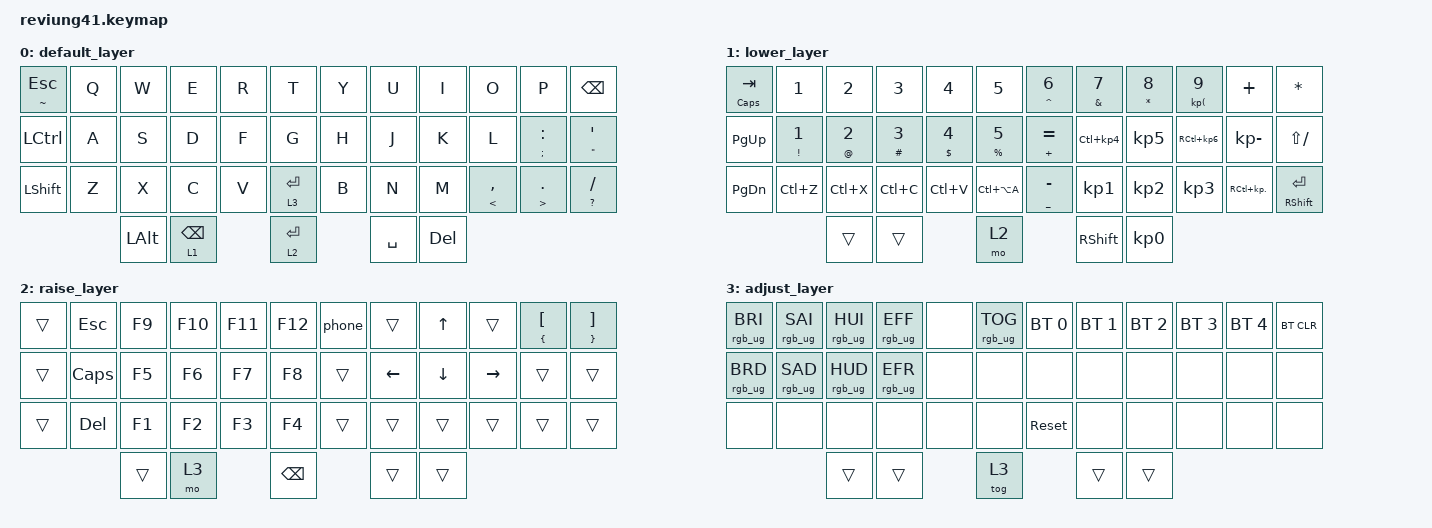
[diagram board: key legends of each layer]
/*
 * Copyright (c) 2020 The ZMK Contributors
 *
 * SPDX-License-Identifier: MIT
 */

#include <behaviors.dtsi>
#include <dt-bindings/zmk/bt.h>
#include <dt-bindings/zmk/keys.h>
#include <dt-bindings/zmk/rgb.h>

/ {
    behaviors {
        tab_esc_ctrl: tab_esc_ctrl {
            compatible = "zmk,behavior-tap-dance";
            label = "TAB_ESC_CTRL";
            #binding-cells = <0>;
            bindings =
                <&mt LCTRL ESC>,
                <&kp TAB>;
        };
        ltq: ltq {
            compatible = "zmk,behavior-hold-tap";
            label = "LTQ";
            bindings =
                <&mo>,
                <&kp>;

            #binding-cells = <2>;
            global-quick-tap;
            tapping-term-ms = <200>;
            quick-tap-ms = <180>;
        };
    };

    combos {
        compatible = "zmk,combos";

        combo1 {
            bindings = <&kp LBKT>;
            key-positions = <6 7>;
        };

        combo2 {
            bindings = <&kp RBKT>;
            key-positions = <8 9>;
        };

        combo3 {
            bindings = <&kp LEFT_PARENTHESIS>;
            key-positions = <16 17>;
        };

        new_combo {
            bindings = <&kp LEFT_WIN>;
            key-positions = <36 37>;
        };
    };

    macros {
        phone: phone {
            compatible = "zmk,behavior-macro";
            label = "PHONE";
            #binding-cells = <0>;
            bindings = <&none &kp N1 &kp N5 &kp N1 &kp N5 &kp N7 &kp N8 &kp N8 &kp N2 &kp N7 &kp N7 &kp N6>;
        };
    };

    keymap {
        compatible = "zmk,keymap";

        default_layer {
            // -------------------------------------------------------------------------------------
            // |  TAB |  Q  |  W  |  E  |  R  |  T  |   |  Y  |  U   |  I  |  O  |  P  |   BKSP    |
            // | CTRL |  A  |  S  |  D  |  F  |  G  |   |  H  |  J   |  K  |  L  |  ;  |    '      |
            // | SHFT |  Z  |  X  |  C  |  V  |  B  |   |  N  |  M   |  ,  |  .  |  /  | SHFT(RET) |
            //                         | ALT | LWR | SPC | RSE  | ALT |

            bindings = <
&mt TILDE ESCAPE  &kp Q  &kp W         &kp E            &kp R        &kp T               &kp Y      &kp U    &kp I         &kp O           &kp P       &kp BACKSPACE
       &kp LCTRL  &kp A  &kp S         &kp D            &kp F        &kp G               &kp H      &kp J    &kp K         &kp L  &mt SEMI COLON         &mt DQT SQT
       &kp LSHFT  &kp Z  &kp X         &kp C            &kp V  &lt 3 ENTER               &kp B      &kp N    &kp M  &mt LT COMMA      &mt GT DOT  &mt QUESTION SLASH
                                &kp LEFT_ALT  &lt 1 BACKSPACE               &lt 2 ENTER         &kp SPACE  &kp DEL
            >;
        };

        lower_layer {
            // ----------------------------------------------------------------------------------
            // |    |  !  |  @  |  #  |  $  |  %  |   |  ^  |  &  |  *  |  (  |  )  |    DEL    |
            // |    |  _  |  +  |  {  |  }  | "|" |   | LFT | DWN |  UP | RGT |  `  |     ~     |
            // |    | ESC | GUI | ALT | CAPS|  "  |   | HOME| END | PGUP| PGDN| PRSC| SHFT(RET) |
            //                       |     |     | RET | ADJ |     |

            bindings = <
 &mt CAPS TAB       &kp N1           &kp N2       &kp N3         &kp N4          &kp N5         &mt CARET NUMBER_6          &mt AMPS N7     &mt ASTRK N8  &mt KP_LEFT_PARENTHESIS N9        &kp PLUS       &kp STAR
  &kp PAGE_UP  &mt EXCL N1  &mt AT NUMBER_2  &mt HASH N3  &mt DOLLAR N4  &mt PERCENT N5             &mt PLUS EQUAL  &kp LC(KP_NUMBER_4)  &kp KP_NUMBER_5         &kp RC(KP_NUMBER_6)    &kp KP_MINUS   &kp LS(FSLH)
&kp PAGE_DOWN    &kp LC(Z)        &kp LC(X)    &kp LC(C)      &kp LC(V)   &kp LC(LA(A))            &mt UNDER MINUS            &kp KP_N1        &kp KP_N2                   &kp KP_N3  &kp RC(KP_DOT)  &mt RSHFT RET
                                                  &trans         &trans                  &mo 2                          &kp RIGHT_SHIFT  &kp KP_NUMBER_0
            >;
        };

        raise_layer {
            // -----------------------------------------------------------------------------------------
            // |    |  1  |  2  |  3  |  4  |  5  |   |  6  |  7  |  8  |  9  |  0  | DEL |
            // |    |  -  |  =  |  [  |  ]  |  \  |   | F1  | F2  | F3  | F4  | F5  | F6  |
            // |    | ESC | GUI | ALT | CAPS|  "  |   | F7  | F8  | F9  | F10 | F11 | F12 |
            //                       |     | ADJ | BKSP |    |     |

            bindings = <
&trans     &kp ESC  &kp F9  &kp F10  &kp F11  &kp F12            &phone    &trans    &kp UP     &trans  &mt LBRC LBKT  &mt RBRC RBKT
&trans    &kp CAPS  &kp F5   &kp F6   &kp F7   &kp F8            &trans  &kp LEFT  &kp DOWN  &kp RIGHT         &trans         &trans
&trans  &kp DELETE  &kp F1   &kp F2   &kp F3   &kp F4            &trans    &trans    &trans     &trans         &trans         &trans
                             &trans    &mo 3           &kp BSPC            &trans    &trans
            >;
        };

        adjust_layer {
            // -----------------------------------------------------------------------------------------
            // | RGB BRI+ | RGB SAT+ | RGB HUE+ | RGB ANI+ |    | RGB TOG |   |  BT1  | BT2 | BT3 | BT4 | BT5 | BT CLR |
            // | RGB BRI- | RGB SAT- | RGB HUE- | RGB ANI- |    |         |   |       |     |     |     |     |        |
            // |          |          |          |          |    |         |   | RESET |     |     |     |     |        |
            //                                              |     |     |     |     |     |

            bindings = <
&rgb_ug RGB_BRI  &rgb_ug RGB_SAI  &rgb_ug RGB_HUI  &rgb_ug RGB_EFF   &none  &rgb_ug RGB_TOG          &bt BT_SEL 0  &bt BT_SEL 1  &bt BT_SEL 2  &bt BT_SEL 3  &bt BT_SEL 4  &bt BT_CLR
&rgb_ug RGB_BRD  &rgb_ug RGB_SAD  &rgb_ug RGB_HUD  &rgb_ug RGB_EFR   &none            &none                 &none         &none         &none         &none         &none       &none
          &none            &none            &none            &none   &none            &none            &sys_reset         &none         &none         &none         &none       &none
                                                            &trans  &trans                   &tog 3                      &trans        &trans
            >;
        };
    };
};
